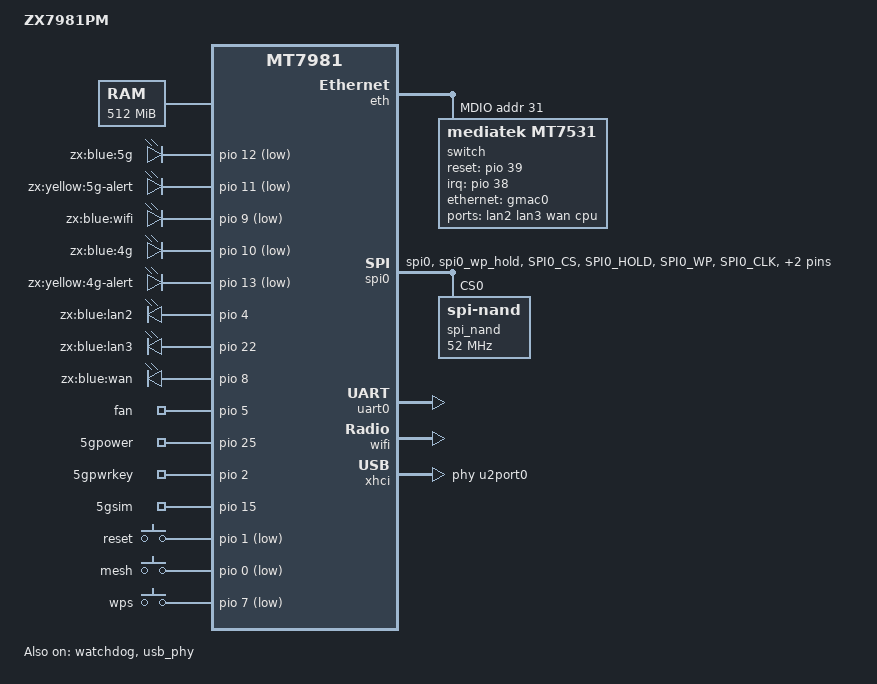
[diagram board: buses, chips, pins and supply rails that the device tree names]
// SPDX-License-Identifier: GPL-2.0-or-later OR MIT
/*
 * Copyright (C) 2023 Tianling Shen <cnsztl@immortalwrt.org>
 */

/dts-v1/;
#include <dt-bindings/gpio/gpio.h>
#include <dt-bindings/input/input.h>
#include <dt-bindings/leds/common.h>
#include "mt7981.dtsi"

/ {
	model = "ZX7981PM";
	compatible = "zx,zx7981pm", "mediatek,mt7981";

	aliases {
		led-boot = &led_4gyellow;
		led-failsafe = &led_4gyellow;
		led-running = &led_4gblue;
		led-upgrade = &led_4gblue;
		serial0 = &uart0;
	};

	chosen {
		bootargs = "console=ttyS0,115200n1 loglevel=8 earlycon=uart8250,mmio32,0x11002000 root=/dev/fit0 rootwait";
		stdout-path = "serial0:115200n8";
	};

	memory {
		reg = <0 0x40000000 0 0x20000000>;
	};

	gpio-leds {
		compatible = "gpio-leds";

		/* 5G模组指示灯 */
		led_5gblue: led-5gblue {
			label = "zx:blue:5g";
			gpios = <&pio 12 GPIO_ACTIVE_LOW>;
			linux,default-trigger = "phy0tpt";
		};

		led_5gyellow: led-5gyellow {
			label = "zx:yellow:5g-alert";
			gpios = <&pio 11 GPIO_ACTIVE_LOW>;
			panic-indicator;
		};

		/* WiFi状态灯 */
		led_wifi: led-wifi {
			label = "zx:blue:wifi";
			gpios = <&pio 9 GPIO_ACTIVE_LOW>;
			linux,default-trigger = "phy1tpt";
		};

		/* 4G模组指示灯 */
		led_4gblue: led-4gblue {
			label = "zx:blue:4g";
			gpios = <&pio 10 GPIO_ACTIVE_LOW>;
			linux,default-trigger = "usbport";
		};

		led_4gyellow: led-4gyellow {
			label = "zx:yellow:4g-alert";
			gpios = <&pio 13 GPIO_ACTIVE_LOW>;
		};

		/* 网络端口指示灯 */
		led_lan2: led-lan2 {
			label = "zx:blue:lan2";
			gpios = <&pio 4 GPIO_ACTIVE_HIGH>;
			linux,default-trigger = "switch0port1";
		};

		led_lan3: led-lan3 {
			label = "zx:blue:lan3";
			gpios = <&pio 22 GPIO_ACTIVE_HIGH>;
			linux,default-trigger = "switch0port2";
		};

		led_wan: led-wan {
			label = "zx:blue:wan";
			gpios = <&pio 8 GPIO_ACTIVE_HIGH>;
			linux,default-trigger = "switch0port5";
		};
	};

	gpio-export {
		compatible = "gpio-export";
		#size-cells = <0>;

		fan_control {
			gpio-export,name = "fan";
			gpio-export,output = <1>;
			gpios = <&pio 5 GPIO_ACTIVE_HIGH>;
		};

		modem_5g_power {
			gpio-export,name = "5gpower";
			gpio-export,output = <0>;
			gpios = <&pio 25 GPIO_ACTIVE_HIGH>;
		};

		modem_5g_pwrkey {
			gpio-export,name = "5gpwrkey";
			gpio-export,output = <0>;
			gpios = <&pio 2 GPIO_ACTIVE_HIGH>;
		};

		sim_select {
			gpio-export,name = "5gsim";
			gpio-export,output = <1>;
			gpios = <&pio 15 GPIO_ACTIVE_HIGH>;
		};
	};

	gpio-keys {
		compatible = "gpio-keys";
		poll-interval = <20>;

		reset {
			label = "reset";
			linux,code = <KEY_RESTART>;
			gpios = <&pio 1 GPIO_ACTIVE_LOW>;
		};

		mesh {
			label = "mesh";
			linux,code = <BTN_9>;
			linux,input-type = <EV_SW>;
			gpios = <&pio 0 GPIO_ACTIVE_LOW>;
		};

		wps {
			label = "wps";
			linux,code = <KEY_WPS_BUTTON>;
			gpios = <&pio 7 GPIO_ACTIVE_LOW>;
		};
	};

	nmbm_spim_nand {
		compatible = "generic,nmbm";
		#address-cells = <1>;
		#size-cells = <1>;
		lower-mtd-device = <&spi_nand>;
		forced-create;

		partitions {
			compatible = "fixed-partitions";
			#address-cells = <1>;
			#size-cells = <1>;

			partition@0 {
				label = "BL2";
				reg = <0x000000 0x100000>;
			};

			partition@100000 {
				label = "u-boot-env";
				reg = <0x100000 0x80000>;
			};

			factory: partition@180000 {
				label = "Factory";
				reg = <0x180000 0x200000>;
			};

			partition@380000 {
				label = "FIP";
				reg = <0x380000 0x200000>;
			};

			partition@580000 {
				label = "woem";
				reg = <0x580000 0xa0000>;
			};

			partition@620000 {
				label = "ubi";
				reg = <0x620000 0x3800000>;
			};

			partition@3E20000 {
				label = "ubi2";
				reg = <0x3E20000 0x3800000>;
			};

			partition@7620000 {
				label = "wtinfo";
				reg = <0x7620000 0x60000>;
			};

			partition@7680000 {
				label = "nvram";
				reg = <0x7680000 0x60000>;
			};
		};
	};
};

&eth {
	status = "okay";

	gmac0: mac@0 {
		compatible = "mediatek,eth-mac";
		reg = <0>;
		phy-mode = "2500base-x";
		fixed-link {
			speed = <2500>;
			full-duplex;
			pause;
		};
	};

	gmac1: mac@1 {
		compatible = "mediatek,eth-mac";
		reg = <1>;
		phy-mode = "gmii";
		phy-handle = <&int_gbe_phy>;
	};

	mdio: mdio-bus {
		#address-cells = <1>;
		#size-cells = <0>;

		switch@1f {
			compatible = "mediatek,mt7531";
			reg = <31>;
			reset-gpios = <&pio 39 GPIO_ACTIVE_HIGH>;
			interrupt-parent = <&pio>;
			interrupts = <38 IRQ_TYPE_LEVEL_HIGH>;

			ports {
				#address-cells = <1>;
				#size-cells = <0>;

				port@1 {
					reg = <1>;
					label = "lan2";
				};

				port@2 {
					reg = <2>;
					label = "lan3";
				};

				port@5 {
					reg = <5>;
					label = "wan";
					phy-mode = "2500base-x";
					fixed-link {
						speed = <2500>;
						full-duplex;
						pause;
					};
				};

				port@6 {
					reg = <6>;
					label = "cpu";
					ethernet = <&gmac0>;
					phy-mode = "2500base-x";
					fixed-link {
						speed = <2500>;
						full-duplex;
						pause;
					};
				};
			};
		};
	};
};

&spi0 {
	pinctrl-names = "default";
	pinctrl-0 = <&spi0_flash_pins>;
	status = "okay";

	spi_nand: spi_nand@0 {
		compatible = "spi-nand";
		reg = <0>;
		spi-max-frequency = <52000000>;
		spi-tx-bus-width = <4>;
		spi-rx-bus-width = <4>;
	};
};

&pio {
	spi0_flash_pins: spi0-pins {
		mux {
			function = "spi";
			groups = "spi0", "spi0_wp_hold";
		};

		conf-pu {
			pins = "SPI0_CS", "SPI0_HOLD", "SPI0_WP";
			drive-strength = <MTK_DRIVE_8mA>;
			bias-pull-up = <MTK_PUPD_SET_R1R0_11>;
		};

		conf-pd {
			pins = "SPI0_CLK", "SPI0_MOSI", "SPI0_MISO";
			drive-strength = <MTK_DRIVE_8mA>;
			bias-pull-down = <MTK_PUPD_SET_R1R0_11>;
		};
	};
};

&uart0 {
	status = "okay";
};

&watchdog {
	status = "okay";
};

&wifi {
	status = "okay";
	led-trggers {
		phy0tpt = "/soc/wifi@18000000/led-active";
		phy1tpt = "/soc/wifi@18000000/led-active";
	};
};

&xhci {
	mediatek,u3p-dis-msk = <0x0>;
	phys = <&u2port0 PHY_TYPE_USB2>,
	       <&u3port0 PHY_TYPE_USB3>;
	status = "okay";
};

&usb_phy {
	status = "okay";
};
